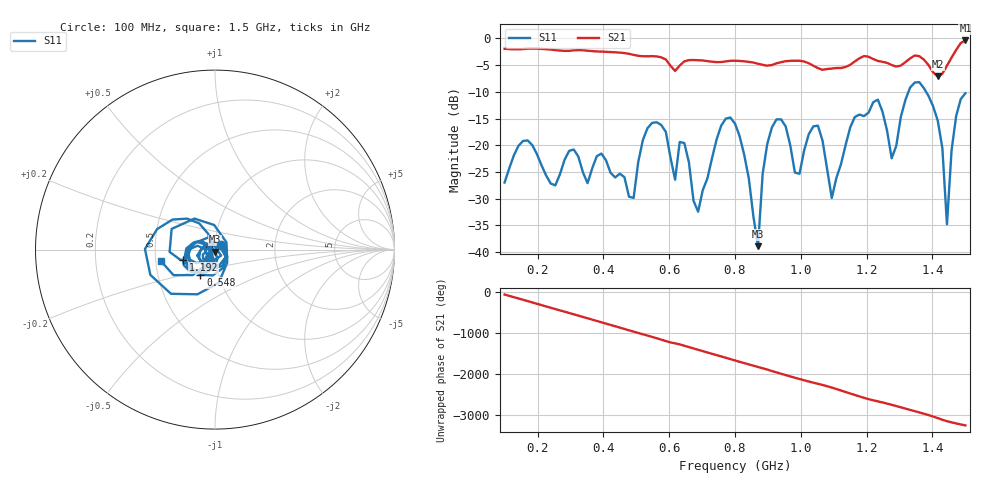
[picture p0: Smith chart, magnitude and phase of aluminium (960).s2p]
! NanoVNA-App
! Date: 2025-09-25 15:02:45
! Start: 100MHz Stop: 1,5GHz Points: 101
! S-Parameter data: F S11 S21 S12 S22
# Hz S RI R 50
!  Frequency  S11_Real  S11_Imag  S21_Real  S21_Imag  S12_Real  S12_Imag  S22_Real  S22_Imag
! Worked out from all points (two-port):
!   101 points, 100 MHz to 1.5 GHz, reference 50 ohm
!   highest |S21| = -0.37 dB at 1.5 GHz (marker M1); lowest = -7.1 dB at 1.416 GHz (marker M2)
!   |S21| within 3 dB of the highest: start of sweep to 563.1 MHz; 1.46 GHz to end of sweep (the widest 2 of 4)
!   lowest |S11| = -38.9 dB at 870 MHz (marker M3), VSWR 1.02, Z = 50.2 - j1.13 ohm
!   |S11| at or under -10 dB: start of sweep to 1.327 GHz; 1.381 GHz to end of sweep
!   S12 and S22 are empty: the file has one direction only
!   S11 on the Smith chart (normalised r, x): 100 MHz: 1.07, +0.06; 548 MHz: 0.82, -0.24; 1.192 GHz: 0.69, -0.08; 1.5 GHz: 0.53, -0.08
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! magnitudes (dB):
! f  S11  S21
! 100 MHz  -27.0  -1.9
! 156 MHz  -19.2  -2.0
! 338 MHz  -25.1  -2.2
! 492 MHz  -29.8  -3.1
! 548 MHz  -15.8  -3.3
! 576 MHz  -16.2  -3.5
! 646 MHz  -19.6  -4.3
! 688 MHz  -32.4  -4.1
! 800 MHz  -15.9  -4.2
! 870 MHz  -38.9  -4.7
! 912 MHz  -16.7  -5.0
! 996 MHz  -25.3  -4.2
! 1.038 GHz  -16.4  -5.1
! 1.094 GHz  -29.8  -5.6
! 1.192 GHz  -14.5  -3.3
! 1.234 GHz  -11.4  -4.2
! 1.276 GHz  -22.4  -5.0
! 1.346 GHz  -8.3  -3.2
! 1.416 GHz  -15.4  -7.1
! 1.444 GHz  -34.8  -5.1
! 1.472 GHz  -14.5  -2.1
! 1.5 GHz  -10.3  -0.4
